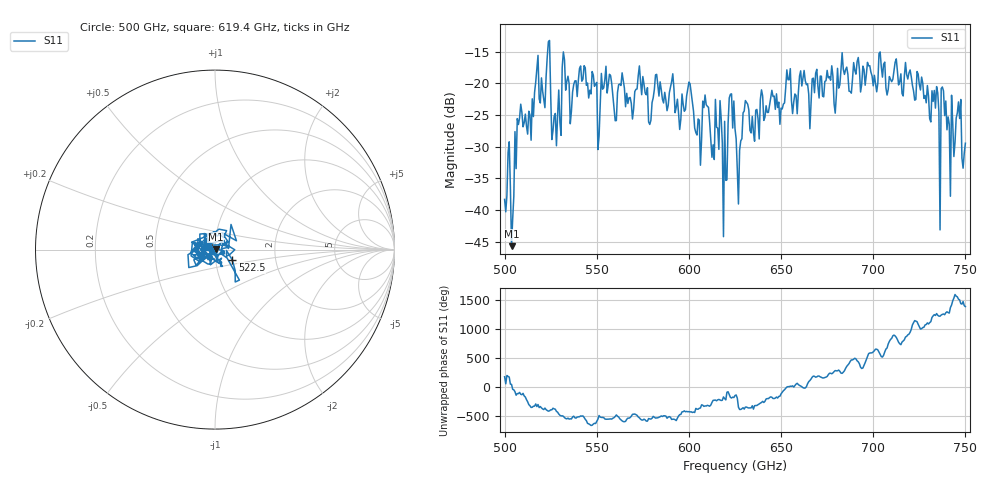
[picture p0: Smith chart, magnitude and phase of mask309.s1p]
!Created with skrf (http://scikit-rf.org).
# GHz S MA R 50.0
!freq magS11 angS11
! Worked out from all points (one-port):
!   401 points, 500 GHz to 750 GHz, reference 50 ohm
!   lowest |S11| = -45.7 dB at 503.8 GHz (marker M1), VSWR 1.01, Z = 50.4 + j0.38 ohm
!   |S11| at or under -10 dB: start of sweep to end of sweep
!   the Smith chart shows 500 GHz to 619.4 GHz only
!   S11 on the Smith chart (normalised r, x): 500 GHz: 0.98, +0.00; 522.5 GHz: 1.20, -0.14; 619.4 GHz: 0.91, +0.03
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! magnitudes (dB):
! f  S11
! 500 GHz  -38.3
! 503.8 GHz  -45.7
! 508.1 GHz  -25.5
! 522.5 GHz  -19.0
! 523.8 GHz  -13.4
! 526.9 GHz  -25.2
! 531.2 GHz  -17.5
! 550.6 GHz  -30.5
! 562.5 GHz  -20.1
! 593.8 GHz  -22.5
! 600 GHz  -19.8
! 605.6 GHz  -25.8
! 609.4 GHz  -23.4
! 612.5 GHz  -31.7
! 616.9 GHz  -22.7
! 619.4 GHz  -26.0
! 623.1 GHz  -21.7
! 625 GHz  -27.2
! 627.5 GHz  -30.6
! 630.6 GHz  -22.7
! 656.2 GHz  -24.8
! 687.5 GHz  -21.3
! 718.8 GHz  -19.3
! 735 GHz  -21.5
! 738.1 GHz  -21.2
! 743.1 GHz  -26.3
! 746.2 GHz  -22.9
! 750 GHz  -29.5
